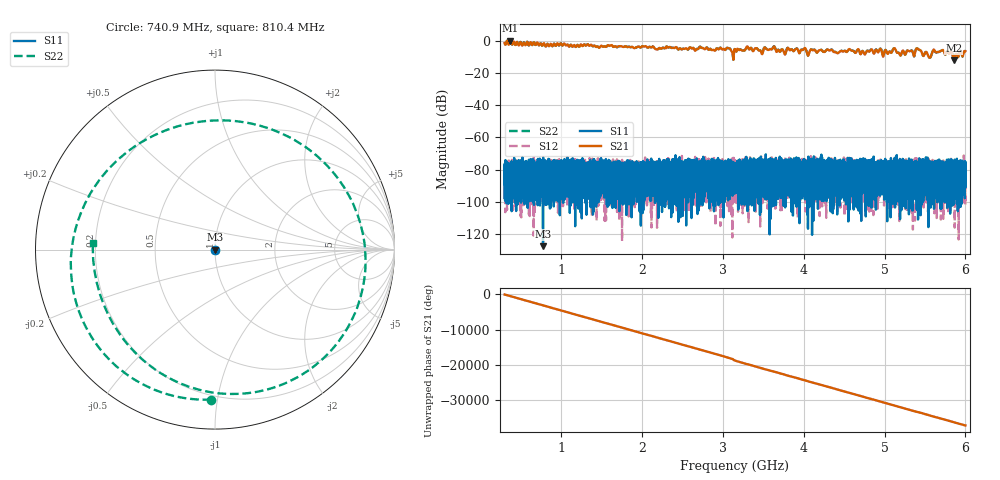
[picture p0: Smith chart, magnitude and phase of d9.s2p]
!Agilent Technologies,N5230C,SG49000117,A.08.50.07
!Agilent N5230C: A.08.50.07
!Date: Sunday, March 17, 2024 02:53:45
!Correction: S11(Off)
!S21(Off)
!S12(Off)
!S22(Off)
!S2P File: Measurements: S11, S21, S12, S22:
# Hz S  RI  R 50
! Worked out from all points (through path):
!   20001 points, 300 MHz to 6 GHz, reference 50 ohm
!   highest |S21| = 0.33 dB at 372.4 MHz (marker M1); lowest = -12.1 dB at 5.857 GHz (marker M2)
!   lowest |S11| = -127.6 dB at 775.1 MHz (marker M3), VSWR 1.00, Z = 50 + j3.16e-05 ohm
!   |S11| at or under -10 dB: start of sweep to end of sweep
!   |S22| runs from -12.1 to 0.4 dB; largest |S21 - S12| = 1
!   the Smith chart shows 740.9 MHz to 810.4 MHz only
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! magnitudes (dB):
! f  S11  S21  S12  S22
! 300 MHz  -81.2  -1.2  -96.0  -1.2
! 372.4 MHz  -80.2  0.3  -82.0  0.4
! 775.1 MHz  -127.6  -2.3  -85.7  -2.3
! 1.25 GHz  -82.8  -2.3  -93.8  -2.3
! 2.2 GHz  -104.2  -4.9  -86.5  -4.9
! 3.066 GHz  -83.2  -4.5  -75.7  -4.5
! 3.15 GHz  -84.0  -5.3  -99.9  -5.3
! 3.315 GHz  -83.8  -4.4  -83.5  -4.3
! 3.471 GHz  -81.7  -6.5  -88.3  -6.5
! 3.62 GHz  -86.8  -4.1  -80.9  -4.0
! 3.76 GHz  -80.5  -7.6  -76.6  -7.5
! 4.1 GHz  -76.9  -5.4  -96.1  -5.2
! 5.05 GHz  -79.5  -7.2  -97.9  -7.1
! 5.12 GHz  -80.9  -4.5  -82.7  -4.4
! 5.181 GHz  -81.7  -7.7  -78.2  -7.7
! 5.356 GHz  -80.4  -8.2  -78.4  -8.2
! 5.414 GHz  -89.2  -4.9  -89.0  -5.0
! 5.554 GHz  -79.1  -10.3  -85.2  -10.3
! 5.61 GHz  -79.6  -5.3  -82.4  -5.4
! 5.708 GHz  -79.7  -5.8  -82.8  -5.9
! 5.857 GHz  -80.6  -12.1  -81.6  -12.1
! 6 GHz  -79.8  -6.3  -79.1  -6.3
